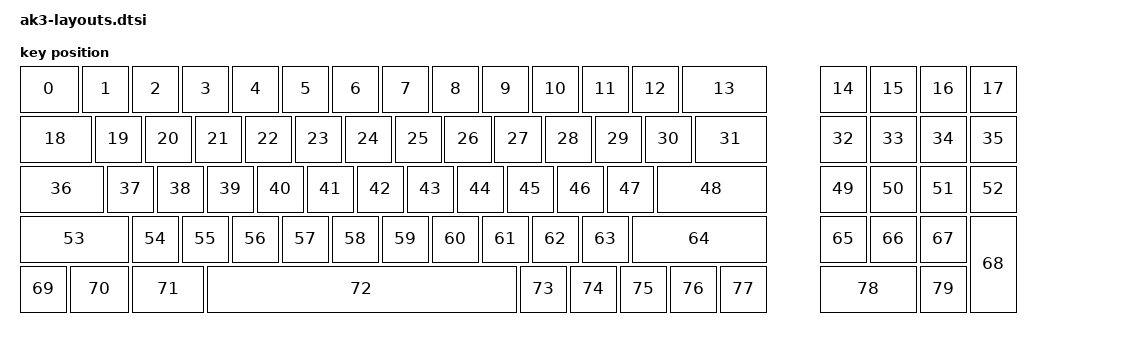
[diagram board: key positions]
#include <physical_layouts.dtsi>

/ {
    default_layout: layout_0 {
        compatible = "zmk,physical-layout";
        display-name = "Layout 0";
        transform = <&default_transform>;

        keys  //                     w   h    x    y     rot    rx    ry
            = <&key_physical_attrs 125 100    0    0       0     0     0>
            , <&key_physical_attrs 100 100  125    0       0     0     0>
            , <&key_physical_attrs 100 100  225    0       0     0     0>
            , <&key_physical_attrs 100 100  325    0       0     0     0>
            , <&key_physical_attrs 100 100  425    0       0     0     0>
            , <&key_physical_attrs 100 100  525    0       0     0     0>
            , <&key_physical_attrs 100 100  625    0       0     0     0>
            , <&key_physical_attrs 100 100  725    0       0     0     0>
            , <&key_physical_attrs 100 100  825    0       0     0     0>
            , <&key_physical_attrs 100 100  925    0       0     0     0>
            , <&key_physical_attrs 100 100 1025    0       0     0     0>
            , <&key_physical_attrs 100 100 1125    0       0     0     0>
            , <&key_physical_attrs 100 100 1225    0       0     0     0>
            , <&key_physical_attrs 175 100 1325    0       0     0     0>
            , <&key_physical_attrs 100 100 1600    0       0     0     0>
            , <&key_physical_attrs 100 100 1700    0       0     0     0>
            , <&key_physical_attrs 100 100 1800    0       0     0     0>
            , <&key_physical_attrs 100 100 1900    0       0     0     0>
            , <&key_physical_attrs 150 100    0  100       0     0     0>
            , <&key_physical_attrs 100 100  150  100       0     0     0>
            , <&key_physical_attrs 100 100  250  100       0     0     0>
            , <&key_physical_attrs 100 100  350  100       0     0     0>
            , <&key_physical_attrs 100 100  450  100       0     0     0>
            , <&key_physical_attrs 100 100  550  100       0     0     0>
            , <&key_physical_attrs 100 100  650  100       0     0     0>
            , <&key_physical_attrs 100 100  750  100       0     0     0>
            , <&key_physical_attrs 100 100  850  100       0     0     0>
            , <&key_physical_attrs 100 100  950  100       0     0     0>
            , <&key_physical_attrs 100 100 1050  100       0     0     0>
            , <&key_physical_attrs 100 100 1150  100       0     0     0>
            , <&key_physical_attrs 100 100 1250  100       0     0     0>
            , <&key_physical_attrs 150 100 1350  100       0     0     0>
            , <&key_physical_attrs 100 100 1600  100       0     0     0>
            , <&key_physical_attrs 100 100 1700  100       0     0     0>
            , <&key_physical_attrs 100 100 1800  100       0     0     0>
            , <&key_physical_attrs 100 100 1900  100       0     0     0>
            , <&key_physical_attrs 175 100    0  200       0     0     0>
            , <&key_physical_attrs 100 100  175  200       0     0     0>
            , <&key_physical_attrs 100 100  275  200       0     0     0>
            , <&key_physical_attrs 100 100  375  200       0     0     0>
            , <&key_physical_attrs 100 100  475  200       0     0     0>
            , <&key_physical_attrs 100 100  575  200       0     0     0>
            , <&key_physical_attrs 100 100  675  200       0     0     0>
            , <&key_physical_attrs 100 100  775  200       0     0     0>
            , <&key_physical_attrs 100 100  875  200       0     0     0>
            , <&key_physical_attrs 100 100  975  200       0     0     0>
            , <&key_physical_attrs 100 100 1075  200       0     0     0>
            , <&key_physical_attrs 100 100 1175  200       0     0     0>
            , <&key_physical_attrs 225 100 1275  200       0     0     0>
            , <&key_physical_attrs 100 100 1600  200       0     0     0>
            , <&key_physical_attrs 100 100 1700  200       0     0     0>
            , <&key_physical_attrs 100 100 1800  200       0     0     0>
            , <&key_physical_attrs 100 100 1900  200       0     0     0>
            , <&key_physical_attrs 225 100    0  300       0     0     0>
            , <&key_physical_attrs 100 100  225  300       0     0     0>
            , <&key_physical_attrs 100 100  325  300       0     0     0>
            , <&key_physical_attrs 100 100  425  300       0     0     0>
            , <&key_physical_attrs 100 100  525  300       0     0     0>
            , <&key_physical_attrs 100 100  625  300       0     0     0>
            , <&key_physical_attrs 100 100  725  300       0     0     0>
            , <&key_physical_attrs 100 100  825  300       0     0     0>
            , <&key_physical_attrs 100 100  925  300       0     0     0>
            , <&key_physical_attrs 100 100 1025  300       0     0     0>
            , <&key_physical_attrs 100 100 1125  300       0     0     0>
            , <&key_physical_attrs 275 100 1225  300       0     0     0>
            , <&key_physical_attrs 100 100 1600  300       0     0     0>
            , <&key_physical_attrs 100 100 1700  300       0     0     0>
            , <&key_physical_attrs 100 100 1800  300       0     0     0>
            , <&key_physical_attrs 100 200 1900  300       0     0     0>
            , <&key_physical_attrs 100 100    0  400       0     0     0>
            , <&key_physical_attrs 125 100  100  400       0     0     0>
            , <&key_physical_attrs 150 100  225  400       0     0     0>
            , <&key_physical_attrs 625 100  375  400       0     0     0>
            , <&key_physical_attrs 100 100 1000  400       0     0     0>
            , <&key_physical_attrs 100 100 1100  400       0     0     0>
            , <&key_physical_attrs 100 100 1200  400       0     0     0>
            , <&key_physical_attrs 100 100 1300  400       0     0     0>
            , <&key_physical_attrs 100 100 1400  400       0     0     0>
            , <&key_physical_attrs 200 100 1600  400       0     0     0>
            , <&key_physical_attrs 100 100 1800  400       0     0     0>
            ;
    };

    position_map {
        compatible = "zmk,physical-layout-position-map";

        layout_0 {
            physical-layout = <&default_layout>;
            positions = <>;
        };
    };
};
